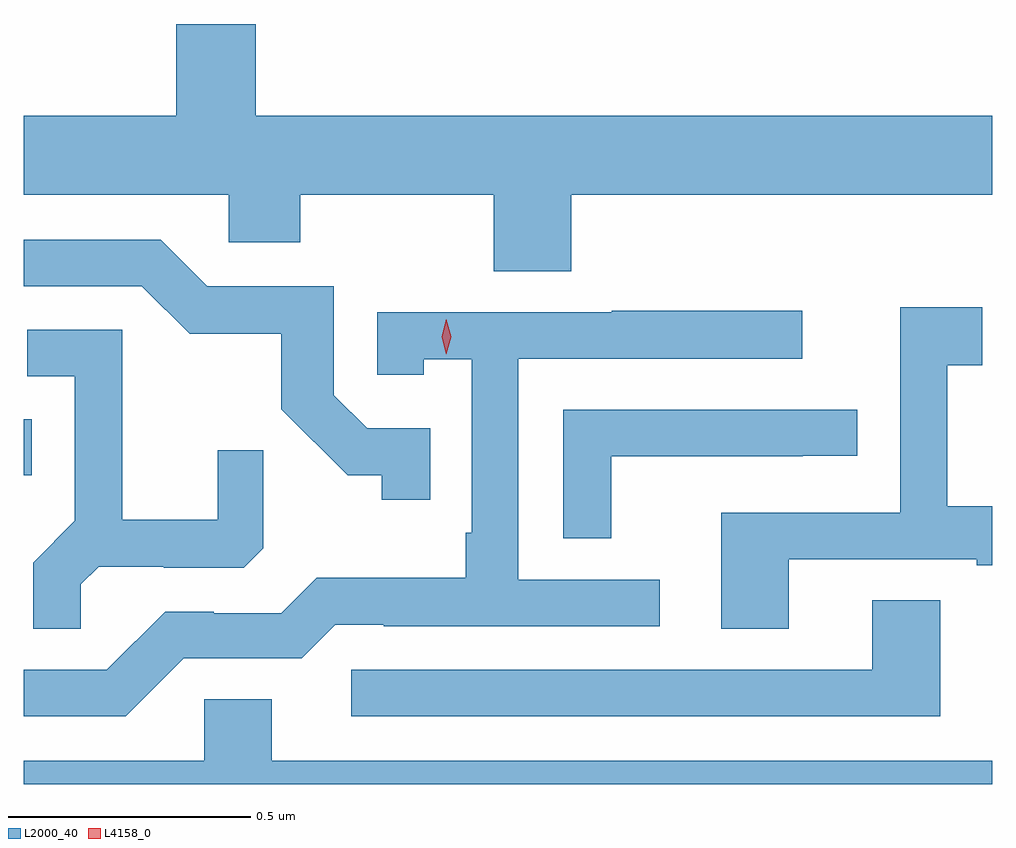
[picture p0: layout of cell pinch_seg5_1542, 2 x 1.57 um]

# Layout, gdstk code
import gdstk
lib = gdstk.Library(unit=1e-6, precision=1e-09)
def R(c, l, rs):  # rectangles x0, y0, x1, y1
    for r in rs: c.add(gdstk.rectangle(r[:2], r[2:], *l))
def P(c, l, *ps):  # polygons
    for p in ps: c.add(gdstk.Polygon(p, *l))
L2000_40 = (2000, 40)
L4158_0 = (4158, 0)

pinch_seg5_1542 = lib.new_cell('pinch_seg5_1542')
R(pinch_seg5_1542, L2000_40, [(200.657,890.813,200.674,890.929)])
P(pinch_seg5_1542, L2000_40, [(201.136,891.745),(200.972,891.745),(200.972,891.556),(200.657,891.556),(200.657,891.392),(201.081,891.392),(201.081,891.294),(201.228,891.294),(201.228,891.392),(201.628,891.392),(201.628,891.235),(201.788,891.235),(201.788,891.392),(202.657,891.392),(202.657,891.556),(201.136,891.556)],
  [(201.497,890.91),(201.366,890.91),(201.297,890.979),(201.297,891.204),(201.036,891.204),(200.94,891.3),(200.657,891.3),(200.657,891.204),(200.901,891.204),(201,891.106),(201.189,891.106),(201.189,890.95),(201.326,890.813),(201.396,890.813),(201.396,890.763),(201.497,890.763)],
  [(202.237,890.64),(202.625,890.64),(202.625,890.628),(202.657,890.628),(202.657,890.749),(202.564,890.749),(202.564,891.04),(202.636,891.04),(202.636,891.16),(202.467,891.16),(202.467,890.736),(202.097,890.736),(202.097,890.497),(202.237,890.497)],
  [(200.988,890.436),(201.231,890.436),(201.3,890.505),(201.4,890.505),(201.4,890.502),(201.97,890.502),(201.97,890.598),(201.678,890.598),(201.678,891.054),(202.264,891.054),(202.264,891.153),(201.871,891.153),(201.871,891.15),(201.387,891.15),(201.387,891.021),(201.483,891.021),(201.483,891.053),(201.582,891.053),(201.582,890.695),(201.57,890.695),(201.57,890.602),(201.262,890.602),(201.189,890.529),(201.05,890.529),(201.05,890.532),(200.949,890.532),(200.829,890.412),(200.657,890.412),(200.657,890.316),(200.868,890.316)],
  [(200.775,890.588),(200.812,890.625),(200.946,890.625),(200.946,890.622),(201.111,890.622),(201.152,890.663),(201.152,890.865),(201.058,890.865),(201.058,890.722),(200.861,890.722),(200.861,891.114),(200.664,891.114),(200.664,891.018),(200.763,891.018),(200.763,890.719),(200.677,890.633),(200.677,890.497),(200.775,890.497)],
  [(201.87,890.853),(202.265,890.853),(202.265,890.854),(202.378,890.854),(202.378,890.949),(201.771,890.949),(201.771,890.683),(201.87,890.683)],
  [(202.549,890.555),(202.409,890.555),(202.409,890.412),(201.333,890.412),(201.333,890.316),(202.549,890.316)],
  [(202.657,890.224),(201.169,890.224),(201.169,890.351),(201.03,890.351),(201.03,890.224),(200.657,890.224),(200.657,890.176),(202.657,890.176)])
P(pinch_seg5_1542, L4158_0, [(201.53,891.063),(201.53,891.063),(201.52,891.099),(201.53,891.135),(201.53,891.135),(201.53,891.135),(201.54,891.099),(201.53,891.063)])

lib.write_gds('pinch_seg5_1542.gds')
